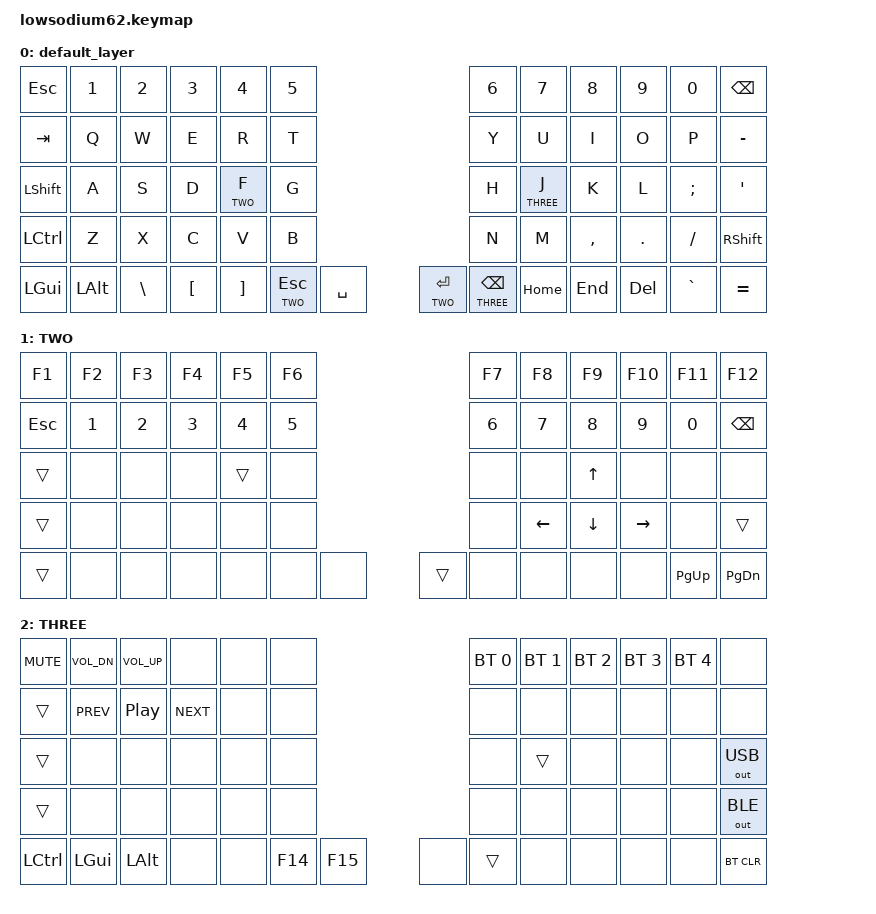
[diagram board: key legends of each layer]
/*
 * Copyright (c) 2020 Derek Schmell
 *
 * SPDX-License-Identifier: MIT
 */

#include <behaviors.dtsi>
#include <dt-bindings/zmk/keys.h>
#include <dt-bindings/zmk/bt.h>
#include <dt-bindings/zmk/outputs.h>
#define TWO 1
#define THREE 2
#define GAME 3

/ {
        keymap {

                compatible = "zmk,keymap";

                default_layer {
// ------------------------------------------------------------------------------------------------------------
// |  ESC  |  1  |  2  |  3   |  4   |  5   |                   |  6   |  7    |  8    |  9   |   0   |   -   |
// |  TAB  |  Q  |  W  |  E   |  R   |  T   |                   |  Y   |  U    |  I    |  O   |   P   |   \   |
// |  CTRL |  A  |  S  |  D   |  F   |  G   |                   |  H   |  J    |  K    |  L   |   ;   |   '   |
// | SHIFT |  Z  |  X  |  C   |  V   |  B   |                   |  N   |  M    |  ,    |  .   |   /   | SHIFT |
// | LCTL  | LGUI  | LALT |  GRAV |  | EQL | DEL | BKSP|  | RET | SPC  | LBKT |  RBKT  | LBKT | HOME  |   END |
                        bindings = <
&kp ESC  &kp N1 &kp N2 &kp N3 &kp N4 &kp N5                    &kp N6 &kp N7 &kp N8 &kp N9 &kp N0 &kp BSPC
&kp TAB  &kp Q     &kp W     &kp E     &kp R     &kp T                        &kp Y     &kp U     &kp I     &kp O     &kp P     &kp MINUS
&kp LSHFT &kp A     &kp S     &kp D     &lt TWO F     &kp G                        &kp H     &lt THREE J    &kp K     &kp L     &kp SEMI  &kp SQT
&kp LCTRL &kp Z     &kp X     &kp C     &kp V     &kp B                        &kp N     &kp M     &kp COMMA  &kp DOT   &kp FSLH  &kp RSHIFT
&kp LGUI  &kp LALT  &kp BSLH &kp LBKT    &kp RBKT  &lt TWO ESC &kp SPACE         &lt TWO RET     &lt THREE BSPC  &kp HOME    &kp END   &kp DEL  &kp GRAVE   &kp EQUAL
                                                                     
                        >;
                };

                TWO {
// ---------------------------------------------------------------------------------------------------------
// |  ESC  |  1  |  2  |  3   |  4   |  5   |                   |  6   |  7    |  8    |  9   |   0   |   -   |
// |  TAB  |  Q  |  W  |  E   |  R   |  T   |                   |  Y   |  U    |  I    |  O   |   P   |   \   |
// |  CTRL |  A  |  S  |  D   |  F   |  G   |                   |  H   |  J    |  K    |  L   |   ;   |   '   |
// | SHIFT |  Z  |  X  |  C   |  V   |  B   |                   |  N   |  M    |  ,    |  .   |   /   | SHIFT |
// | LCTL  | LGUI  | LALT |  GRAV |  | EQL | DEL | BKSP|  | RET | SPC  | LBKT |  RBKT  | LBKT | HOME  |   END |
                        bindings = <
&kp F1  &kp F2 &kp F3 &kp F4 &kp F5 &kp F6                          &kp F7   &kp F8  &kp F9  &kp F10  &kp F11  &kp F12
&kp ESC  &kp N1 &kp N2 &kp N3 &kp N4 &kp N5                         &kp N6 &kp N7 &kp N8 &kp N9 &kp N0 &kp BSPC
&trans &none     &none     &none     &trans    &none                &none     &none     &kp UP    &none     &none  &none
&trans &none     &none     &none     &none     &none                &none     &kp LEFT     &kp DOWN     &kp RIGHT     &none  &trans
&trans &none  &none &none  &none  &none     &none             &trans   &none  &none    &none   &none  &kp PAGE_UP   &kp PAGE_DOWN
                                                                      
                        >;
                };

                THREE {
// ------------------------------------------------------------------------------------------------------------
// |  ESC  |  1  |  2  |  3   |  4   |  5   |                   |  6   |  7    |  8    |  9   |   0   |   -   |
// |  TAB  |  Q  |  W  |  E   |  R   |  T   |                   |  Y   |  U    |  I    |  O   |   P   |   \   |
// |  CTRL |  A  |  S  |  D   |  F   |  G   |                   |  H   |  J    |  K    |  L   |   ;   |   '   |
// | SHIFT |  Z  |  X  |  C   |  V   |  B   |                   |  N   |  M    |  ,    |  .   |   /   | SHIFT |
// | LCTL  | LGUI  | LALT |  GRAV |  | EQL | DEL | BKSP|  | RET | SPC  | LBKT |  RBKT  | LBKT | HOME  |   END |
                        bindings = <
&kp C_MUTE   &kp C_VOL_DN    &kp C_VOL_UP    &none    &none    &none                      &bt BT_SEL 0 &bt BT_SEL 1  &bt BT_SEL 2 &bt BT_SEL 3  &bt BT_SEL 4  &none
&trans  &kp C_PREV     &kp C_PP   &kp C_NEXT     &none    &none                       &none   &none  &none  &none  &none  &none
&trans &none     &none     &none     &none    &none                     &none   &trans &none  &none  &none  &out OUT_USB
&trans &none     &none     &none     &none     &none                    &none   &none  &none  &none  &none  &out OUT_BLE
&kp LCTL &kp LGUI     &kp LALT     &none     &none     &kp F14  &kp F15         &none     &trans   &none  &none  &none  &none  &bt BT_CLR
                                                                  
                        >;
                };
        };
 
};  
